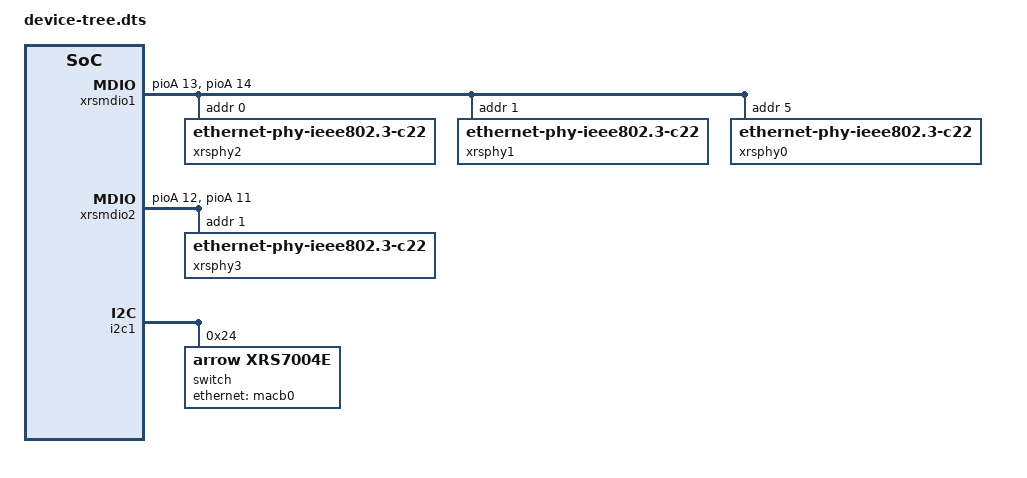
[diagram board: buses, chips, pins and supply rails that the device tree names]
/dts-v1/;

#include "at91-sam9x60ek.dts"

&i2c1 {
        switch@24 {
		compatible = "arrow,xrs7004e";
		reg = <0x24>;

		ethernet-ports {
			#address-cells = <1>;
			#size-cells = <0>;

			ethernet-port@0 {
				reg = <0>;
				label = "cpu";
				ethernet = <&macb0>;

				phy-handle = <&xrsphy0>;
				phy-mode = "rmii";
				/* fixed-link { */
				/* 	speed = <1000>; */
				/* 	full-duplex; */
				/* }; */
			};


			ethernet-port@1 {
				reg = <1>;
				label = "eth1";
				phy-handle = <&xrsphy1>;
				phy-mode = "rgmii-id";
			};

			ethernet-port@2 {
				reg = <2>;
				label = "eth2";
				phy-handle = <&xrsphy2>;
				phy-mode = "rgmii-id";
			};

			ethernet-port@3 {
				reg = <3>;
				label = "eth3";
				phy-handle = <&xrsphy3>;
				phy-mode = "rgmii-id";
			};
		};
	};
};

/ {
	aliases {
		mdio-gpio1 = &xrsmdio1;
		mdio-gpio2 = &xrsmdio2;
	};

	xrsmdio1: xrsmdio1 {
		compatible = "virtual,mdio-gpio";
		#address-cells = <1>;
		#size-cells = <0>;
		gpios = <&pioA 13 GPIO_ACTIVE_HIGH>, <&pioA 14 GPIO_ACTIVE_HIGH>;
		pinctrl-names = "default";
		pinctrl-0 = <&pinctrl_xrsmdio1_default>;

		xrsphy2: ethernet-phy@0 {
			compatible = "ethernet-phy-ieee802.3-c22";
			reg = <0>;
		};
		xrsphy1: ethernet-phy@1 {
			compatible = "ethernet-phy-ieee802.3-c22";
			reg = <1>;
		};
		xrsphy0: ethernet-phy@5 {
			compatible = "ethernet-phy-ieee802.3-c22";
			reg = <5>;
		};
	};

	xrsmdio2: xrsmdio2 {
		compatible = "virtual,mdio-gpio";
		#address-cells = <1>;
		#size-cells = <0>;
		gpios = <&pioA 12 GPIO_ACTIVE_HIGH>, <&pioA 11 GPIO_ACTIVE_HIGH>;
		pinctrl-names = "default";
		pinctrl-0 = <&pinctrl_xrsmdio2_default>;

		xrsphy3: ethernet-phy@1 {
			compatible = "ethernet-phy-ieee802.3-c22";
			reg = <1>;
		};
	};
};

&pinctrl {
	xrs_mdio {
		pinctrl_xrsmdio1_default: xrsmdio1_default {
			atmel,pins = <AT91_PIOA 13 AT91_PERIPH_GPIO AT91_PINCTRL_NONE>,
				     <AT91_PIOA 14 AT91_PERIPH_GPIO AT91_PINCTRL_NONE>;
		};
		pinctrl_xrsmdio2_default: xrsmdio2_default {
			atmel,pins = <AT91_PIOA 12 AT91_PERIPH_GPIO AT91_PINCTRL_NONE>,
				     <AT91_PIOA 11 AT91_PERIPH_GPIO AT91_PINCTRL_NONE>;
		};
	};
};

&spi0 {
	/* Used for MDIO1/2 on XRS EVK */
	status = "disabled";
};
